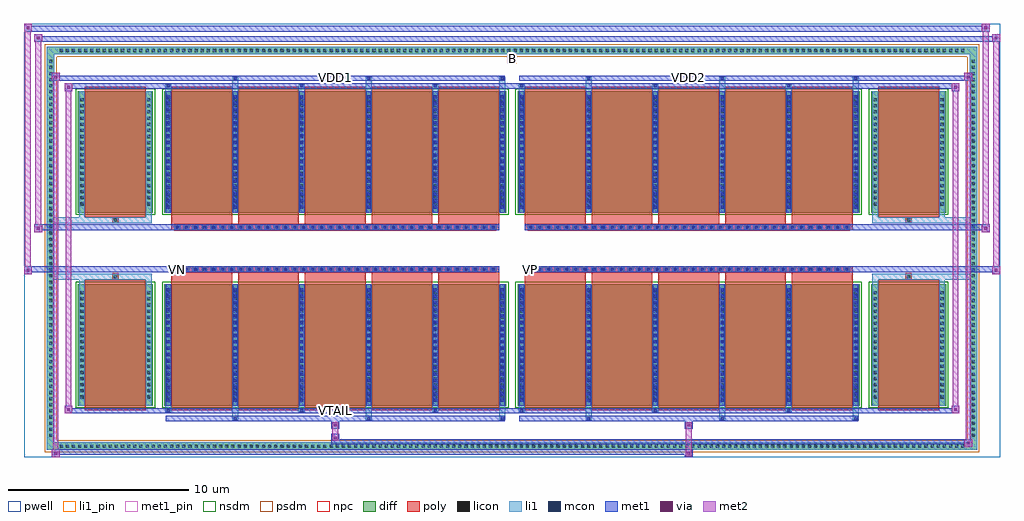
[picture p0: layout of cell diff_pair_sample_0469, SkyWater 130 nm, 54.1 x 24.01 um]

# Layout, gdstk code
import gdstk
lib = gdstk.Library(unit=1e-6, precision=5e-09)
def R(c, l, rs):  # rectangles x0, y0, x1, y1
    for r in rs: c.add(gdstk.rectangle(r[:2], r[2:], *l))
def A(c, l, x, y, w, h, nx, ny, dx, dy):  # array of equal rectangles
    R(c, l, [(x+i*dx, y+j*dy, x+i*dx+w, y+j*dy+h) for i in range(nx) for j in range(ny)])
def P(c, l, *ps):  # polygons
    for p in ps: c.add(gdstk.Polygon(p, *l))
pwell = (64, 44)
diff = (65, 20)
poly = (66, 20)
licon = (66, 44)
li1_pin = (67, 16)
li1 = (67, 20)
mcon = (67, 44)
met1_pin = (68, 16)
met1 = (68, 20)
via = (68, 44)
met2 = (69, 20)
nsdm = (93, 44)
psdm = (94, 20)
npc = (95, 20)

diff_pair_sample_0469 = lib.new_cell('diff_pair_sample_0469')
R(diff_pair_sample_0469, pwell, [(-27.05,-11.57,27.05,12.44), (-24.37,-9.76,-0.01,-0.8), (0.01,-9.76,24.37,-0.8), (-24.37,0.8,-0.01,9.76), (0.01,0.8,24.37,9.76)])
A(diff_pair_sample_0469, diff, -25.195, -11.17, 0.41, 0.41, 148, 2, 0.34, 21.93)
A(diff_pair_sample_0469, diff, -25.78, -10.575, 0.41, 0.41, 1, 62, 0, 0.34)
A(diff_pair_sample_0469, diff, 25.37, -10.575, 0.41, 0.41, 1, 62, 0, 0.34)
R(diff_pair_sample_0469, diff, [(-25.195,-11.17,25.195,-10.76), (-25.78,-10.575,-25.37,10.575), (25.37,-10.575,25.78,10.575), (-24.06,-8.715,-19.91,-1.985), (-19.27,-8.715,-0.32,-1.985), (0.32,-8.715,19.27,-1.985), (19.91,-8.715,24.06,-1.985), (-24.06,1.985,-19.91,8.715), (-19.27,1.985,-0.32,8.715), (0.32,1.985,19.27,8.715), (19.91,1.985,24.06,8.715), (-25.195,10.76,25.195,11.17)])
P(diff_pair_sample_0469, diff, [(25.78,11.17),(-25.78,11.17),(-25.78,-10.76),(-25.37,-10.76),(-25.37,10.76),(25.37,10.76),(25.37,-10.76),(-25.37,-10.76),(-25.78,-10.76),(-25.78,-11.17),(25.78,-11.17)])
A(diff_pair_sample_0469, poly, -18.88, -8.965, 3.37, 7.23, 5, 2, 3.7, 10.7)
A(diff_pair_sample_0469, poly, 0.71, -8.965, 3.37, 7.23, 5, 2, 3.7, 10.7)
A(diff_pair_sample_0469, poly, -18.88, -1.735, 3.37, 0.405, 5, 2, 3.7, 3.065)
A(diff_pair_sample_0469, poly, 0.71, -1.735, 3.37, 0.405, 5, 2, 3.7, 3.065)
A(diff_pair_sample_0469, poly, -18.71, -1.33, 0.33, 0.33, 36, 2, 0.5, 2.33)
A(diff_pair_sample_0469, poly, 0.88, -1.33, 0.33, 0.33, 36, 2, 0.5, 2.33)
R(diff_pair_sample_0469, poly, [(-23.67,-8.965,-20.3,-1.735), (20.3,-8.965,23.67,-1.735), (-22.15,-1.735,-21.82,-1.405), (-22.15,-1.735,-21.82,-1.405), (21.82,-1.735,22.15,-1.405), (21.82,-1.735,22.15,-1.405), (-18.88,-1.33,-0.71,-1), (0.71,-1.33,18.88,-1), (-18.88,1,-0.71,1.33), (0.71,1,18.88,1.33), (-22.15,1.405,-21.82,1.735), (-22.15,1.405,-21.82,1.735), (21.82,1.405,22.15,1.735), (21.82,1.405,22.15,1.735), (-23.67,1.735,-20.3,8.965), (20.3,1.735,23.67,8.965)])
A(diff_pair_sample_0469, licon, -25.075, -11.05, 0.17, 0.17, 148, 2, 0.34, 21.93)
A(diff_pair_sample_0469, licon, -25.66, -10.455, 0.17, 0.17, 1, 62, 0, 0.34)
A(diff_pair_sample_0469, licon, 25.49, -10.455, 0.17, 0.17, 1, 62, 0, 0.34)
A(diff_pair_sample_0469, licon, -23.92, -8.325, 0.17, 0.17, 1, 18, 0, 0.34)
A(diff_pair_sample_0469, licon, -20.22, -8.325, 0.17, 0.17, 1, 18, 0, 0.34)
A(diff_pair_sample_0469, licon, -19.13, -8.325, 0.17, 0.17, 6, 18, 3.7, 0.34)
A(diff_pair_sample_0469, licon, 0.46, -8.325, 0.17, 0.17, 6, 18, 3.7, 0.34)
A(diff_pair_sample_0469, licon, 20.05, -8.325, 0.17, 0.17, 1, 18, 0, 0.34)
A(diff_pair_sample_0469, licon, 23.75, -8.325, 0.17, 0.17, 1, 18, 0, 0.34)
A(diff_pair_sample_0469, licon, -18.63, -1.25, 0.17, 0.17, 36, 2, 0.5, 2.33)
A(diff_pair_sample_0469, licon, 0.96, -1.25, 0.17, 0.17, 36, 2, 0.5, 2.33)
A(diff_pair_sample_0469, licon, -23.92, 2.375, 0.17, 0.17, 1, 18, 0, 0.34)
A(diff_pair_sample_0469, licon, -20.22, 2.375, 0.17, 0.17, 1, 18, 0, 0.34)
A(diff_pair_sample_0469, licon, -19.13, 2.375, 0.17, 0.17, 6, 18, 3.7, 0.34)
A(diff_pair_sample_0469, licon, 0.46, 2.375, 0.17, 0.17, 6, 18, 3.7, 0.34)
A(diff_pair_sample_0469, licon, 20.05, 2.375, 0.17, 0.17, 1, 18, 0, 0.34)
A(diff_pair_sample_0469, licon, 23.75, 2.375, 0.17, 0.17, 1, 18, 0, 0.34)
R(diff_pair_sample_0469, licon, [(-22.07,-1.655,-21.9,-1.485), (21.9,-1.655,22.07,-1.485), (-22.07,1.485,-21.9,1.655), (21.9,1.485,22.07,1.655)])
R(diff_pair_sample_0469, li1_pin, [(-0.25,10.26,0.25,10.76)])
A(diff_pair_sample_0469, li1, -25.155, -11.13, 0.33, 0.33, 148, 2, 0.34, 21.93)
A(diff_pair_sample_0469, li1, -25.74, -10.535, 0.33, 0.33, 1, 62, 0, 0.34)
A(diff_pair_sample_0469, li1, 25.41, -10.535, 0.33, 0.33, 1, 62, 0, 0.34)
A(diff_pair_sample_0469, li1, -15.51, -9.52, 0.33, 0.805, 3, 2, 7.4, 18.235)
A(diff_pair_sample_0469, li1, -15.43, -9.52, 0.17, 0.17, 3, 2, 7.4, 18.87)
A(diff_pair_sample_0469, li1, 4.08, -9.52, 0.33, 0.805, 3, 2, 7.4, 18.235)
A(diff_pair_sample_0469, li1, 4.16, -9.52, 0.17, 0.17, 3, 2, 7.4, 18.87)
A(diff_pair_sample_0469, li1, -19.21, -9.09, 0.33, 0.375, 3, 2, 7.4, 17.805)
A(diff_pair_sample_0469, li1, -19.13, -9.09, 0.17, 0.17, 3, 2, 7.4, 18.01)
A(diff_pair_sample_0469, li1, 0.38, -9.09, 0.33, 0.375, 3, 2, 7.4, 17.805)
A(diff_pair_sample_0469, li1, 0.46, -9.09, 0.17, 0.17, 3, 2, 7.4, 18.01)
A(diff_pair_sample_0469, li1, -19.21, -8.715, 0.33, 6.73, 6, 2, 3.7, 10.7)
A(diff_pair_sample_0469, li1, 0.38, -8.715, 0.33, 6.73, 6, 2, 3.7, 10.7)
A(diff_pair_sample_0469, li1, -19.13, -8.495, 0.17, 0.17, 6, 18, 3.7, 0.36)
A(diff_pair_sample_0469, li1, -19.13, -8.495, 0.17, 6.29, 6, 2, 3.7, 10.7)
A(diff_pair_sample_0469, li1, 0.46, -8.495, 0.17, 0.17, 6, 18, 3.7, 0.36)
A(diff_pair_sample_0469, li1, 0.46, -8.495, 0.17, 6.29, 6, 2, 3.7, 10.7)
A(diff_pair_sample_0469, li1, -24, -8.405, 0.33, 0.33, 1, 18, 0, 0.34)
A(diff_pair_sample_0469, li1, -20.3, -8.405, 0.33, 0.33, 1, 18, 0, 0.34)
A(diff_pair_sample_0469, li1, -19.21, -8.405, 0.33, 0.33, 6, 18, 3.7, 0.34)
A(diff_pair_sample_0469, li1, 0.38, -8.405, 0.33, 0.33, 6, 18, 3.7, 0.34)
A(diff_pair_sample_0469, li1, 19.97, -8.405, 0.33, 0.33, 1, 18, 0, 0.34)
A(diff_pair_sample_0469, li1, 23.67, -8.405, 0.33, 0.33, 1, 18, 0, 0.34)
A(diff_pair_sample_0469, li1, -18.71, -1.33, 0.33, 0.33, 36, 2, 0.5, 2.33)
A(diff_pair_sample_0469, li1, 0.88, -1.33, 0.33, 0.33, 36, 2, 0.5, 2.33)
A(diff_pair_sample_0469, li1, -19.13, 2.205, 0.17, 0.17, 6, 18, 3.7, 0.36)
A(diff_pair_sample_0469, li1, 0.46, 2.205, 0.17, 0.17, 6, 18, 3.7, 0.36)
A(diff_pair_sample_0469, li1, -24, 2.295, 0.33, 0.33, 1, 18, 0, 0.34)
A(diff_pair_sample_0469, li1, -20.3, 2.295, 0.33, 0.33, 1, 18, 0, 0.34)
A(diff_pair_sample_0469, li1, -19.21, 2.295, 0.33, 0.33, 6, 18, 3.7, 0.34)
A(diff_pair_sample_0469, li1, 0.38, 2.295, 0.33, 0.33, 6, 18, 3.7, 0.34)
A(diff_pair_sample_0469, li1, 19.97, 2.295, 0.33, 0.33, 1, 18, 0, 0.34)
A(diff_pair_sample_0469, li1, 23.67, 2.295, 0.33, 0.33, 1, 18, 0, 0.34)
R(diff_pair_sample_0469, li1, [(-25.78,-11.17,-25.37,-10.76), (-25.78,-11.17,-25.37,-10.76), (-25.37,-11.17,25.37,-10.76), (25.37,-11.17,25.78,-10.76), (25.37,-11.17,25.78,-10.76), (-25.78,-10.76,-25.37,10.76), (25.37,-10.76,25.78,10.76), (-24,-8.715,-23.67,-1.985), (-20.3,-8.715,-19.97,-1.985), (19.97,-8.715,20.3,-1.985), (23.67,-8.715,24,-1.985), (-24,-1.985,-23.67,-1.405), (-20.3,-1.985,-19.97,-1.405), (19.97,-1.985,20.3,-1.405), (23.67,-1.985,24,-1.405), (-25.78,-1.735,-22.15,-1.405), (-24,-1.735,-22.15,-1.405), (-22.15,-1.735,-21.82,-1.405), (-21.82,-1.735,-19.97,-1.405), (19.97,-1.735,21.82,-1.405), (21.82,-1.735,22.15,-1.405), (21.82,-1.735,25.78,-1.405), (22.15,-1.735,24,-1.405), (-25.78,1.405,-22.15,1.735), (-24,1.405,-22.15,1.735), (-24,1.405,-23.67,1.985), (-22.15,1.405,-21.82,1.735), (-21.82,1.405,-19.97,1.735), (-20.3,1.405,-19.97,1.985), (19.97,1.405,21.82,1.735), (19.97,1.405,20.3,1.985), (21.82,1.405,22.15,1.735), (21.82,1.405,25.78,1.735), (22.15,1.405,24,1.735), (23.67,1.405,24,1.985), (-24,1.985,-23.67,8.715), (-20.3,1.985,-19.97,8.715), (19.97,1.985,20.3,8.715), (23.67,1.985,24,8.715), (-25.78,10.76,-25.37,11.17), (-25.78,10.76,-25.37,11.17), (-25.37,10.76,25.37,11.17), (25.37,10.76,25.78,11.17), (25.37,10.76,25.78,11.17)])
A(diff_pair_sample_0469, mcon, -15.43, -9.52, 0.17, 0.17, 3, 2, 7.4, 18.87)
A(diff_pair_sample_0469, mcon, 4.16, -9.52, 0.17, 0.17, 3, 2, 7.4, 18.87)
A(diff_pair_sample_0469, mcon, -19.13, -9.09, 0.17, 0.17, 3, 2, 7.4, 18.01)
A(diff_pair_sample_0469, mcon, 0.46, -9.09, 0.17, 0.17, 3, 2, 7.4, 18.01)
A(diff_pair_sample_0469, mcon, -19.13, -8.495, 0.17, 0.17, 6, 18, 3.7, 0.36)
A(diff_pair_sample_0469, mcon, 0.46, -8.495, 0.17, 0.17, 6, 18, 3.7, 0.36)
A(diff_pair_sample_0469, mcon, -18.63, -1.25, 0.17, 0.17, 36, 2, 0.5, 2.33)
A(diff_pair_sample_0469, mcon, 0.96, -1.25, 0.17, 0.17, 36, 2, 0.5, 2.33)
A(diff_pair_sample_0469, mcon, -19.13, 2.205, 0.17, 0.17, 6, 18, 3.7, 0.36)
A(diff_pair_sample_0469, mcon, 0.46, 2.205, 0.17, 0.17, 6, 18, 3.7, 0.36)
R(diff_pair_sample_0469, met1_pin, [(-9.93,-9.13,-9.66,-8.86), (-18.68,-1.29,-18.41,-1.02), (0.91,-1.29,1.18,-1.02), (-9.93,9.31,-9.66,9.58), (9.66,9.31,9.93,9.58)])
A(diff_pair_sample_0469, met1, -15.49, -9.58, 0.29, 0.29, 3, 2, 7.4, 18.87)
A(diff_pair_sample_0469, met1, 4.1, -9.58, 0.29, 0.29, 3, 2, 7.4, 18.87)
A(diff_pair_sample_0469, met1, -19.19, -9.15, 0.29, 0.29, 3, 2, 7.4, 18.01)
A(diff_pair_sample_0469, met1, 0.4, -9.15, 0.29, 0.29, 3, 2, 7.4, 18.01)
A(diff_pair_sample_0469, met1, -19.19, -8.715, 0.29, 6.73, 6, 2, 3.7, 10.7)
A(diff_pair_sample_0469, met1, 0.4, -8.715, 0.29, 6.73, 6, 2, 3.7, 10.7)
A(diff_pair_sample_0469, met1, -19.19, -8.555, 0.29, 0.29, 6, 18, 3.7, 0.36)
A(diff_pair_sample_0469, met1, 0.4, -8.555, 0.29, 0.29, 6, 18, 3.7, 0.36)
A(diff_pair_sample_0469, met1, -18.69, -1.31, 0.29, 0.29, 36, 2, 0.5, 2.33)
A(diff_pair_sample_0469, met1, 0.9, -1.31, 0.29, 0.29, 36, 2, 0.5, 2.33)
A(diff_pair_sample_0469, met1, -19.19, 2.145, 0.29, 0.29, 6, 18, 3.7, 0.36)
A(diff_pair_sample_0469, met1, 0.4, 2.145, 0.29, 0.29, 6, 18, 3.7, 0.36)
R(diff_pair_sample_0469, met1, [(-25.51,-11.57,-25.08,-11.14), (9.58,-11.57,10.01,-11.14), (-25.51,-11.43,10.01,-11.14), (25.08,-11,25.51,-10.57), (-10.01,-10.86,25.51,-10.57), (-10.01,-10.72,-9.58,-10.29), (-10.01,-10.01,-9.58,-9.58), (9.58,-10.01,10.01,-9.58), (-19.19,-9.58,-0.4,-9.29), (0.4,-9.58,19.19,-9.29), (-24.8,-9.15,-24.37,-8.72), (-24.8,-9.15,-19.19,-8.86), (-19.19,-9.15,-0.4,-8.86), (-0.4,-9.15,0.4,-8.86), (0.4,-9.15,19.19,-8.86), (19.19,-9.15,24.8,-8.86), (24.37,-9.15,24.8,-8.72), (-27.05,-1.43,-26.62,-1), (26.62,-1.43,27.05,-1), (-27.05,-1.33,-0.71,-1), (-18.88,-1.33,-0.71,-1), (0.71,-1.33,18.88,-1), (0.71,-1.33,27.05,-1), (-26.48,0.9,-26.05,1.33), (26.05,0.9,26.48,1.33), (-26.48,1,-18.88,1.33), (-18.88,1,-0.71,1.33), (0.71,1,18.88,1.33), (18.88,1,26.48,1.33), (-24.8,8.72,-24.37,9.15), (24.37,8.72,24.8,9.15), (-24.8,8.86,-19.19,9.15), (-19.19,8.86,-0.4,9.15), (-0.4,8.86,0.4,9.15), (0.4,8.86,19.19,9.15), (19.19,8.86,24.8,9.15), (-25.51,9.29,-25.08,9.72), (-25.51,9.29,-19.19,9.58), (-19.19,9.29,-0.4,9.58), (0.4,9.29,19.19,9.58), (19.19,9.29,25.51,9.58), (25.08,9.29,25.51,9.72), (-26.48,11.44,-26.05,11.87), (-26.48,11.44,-24.37,11.77), (-24.37,11.44,24.37,11.77), (24.37,11.44,27.05,11.77), (26.62,11.44,27.05,11.87), (-27.05,12.01,-26.62,12.44), (-27.05,12.01,-24.37,12.34), (-24.37,12.01,24.37,12.34), (24.37,12.01,26.48,12.34), (26.05,12.01,26.48,12.44)])
R(diff_pair_sample_0469, via, [(-25.37,-11.43,-25.22,-11.28), (9.72,-11.43,9.87,-11.28), (25.22,-10.86,25.37,-10.71), (-9.87,-10.58,-9.72,-10.43), (-9.87,-9.87,-9.72,-9.72), (9.72,-9.87,9.87,-9.72), (-24.66,-9.01,-24.51,-8.86), (24.51,-9.01,24.66,-8.86), (-26.91,-1.29,-26.76,-1.14), (26.76,-1.29,26.91,-1.14), (-26.34,1.04,-26.19,1.19), (26.19,1.04,26.34,1.19), (-24.66,8.86,-24.51,9.01), (24.51,8.86,24.66,9.01), (-25.37,9.43,-25.22,9.58), (25.22,9.43,25.37,9.58), (-26.34,11.58,-26.19,11.73), (26.76,11.58,26.91,11.73), (-26.91,12.15,-26.76,12.3), (26.19,12.15,26.34,12.3)])
R(diff_pair_sample_0469, met2, [(-25.51,-11.57,-25.08,-11.14), (-25.44,-11.57,-25.15,9.72), (-25.15,-11.57,-25.08,-11.14), (-25.46,-11.52,-25.13,-11.19), (9.63,-11.52,9.96,-11.19), (9.63,-11.19,9.96,-9.96), (25.08,-11,25.51,-10.57), (25.15,-11,25.44,9.72), (25.44,-11,25.51,-10.57), (25.13,-10.95,25.46,-10.62), (-9.96,-10.67,-9.63,-10.34), (-9.96,-10.34,-9.63,-9.96), (-9.96,-9.96,-9.63,-9.63), (9.63,-9.96,9.96,-9.63), (-24.8,-9.15,-24.37,-8.72), (-24.73,-9.15,-24.44,9.15), (-24.44,-9.15,-24.37,-8.72), (24.37,-9.15,24.8,-8.72), (24.44,-9.15,24.73,9.15), (24.73,-9.15,24.8,-8.72), (-24.75,-9.1,-24.42,-8.77), (24.42,-9.1,24.75,-8.77), (-27.05,-1.43,-26.62,-1), (-27,-1.43,-26.67,12.44), (-26.67,-1.43,-26.62,-1), (26.62,-1.43,27.05,-1), (26.67,-1.43,27,11.87), (27,-1.43,27.05,-1), (-27,-1.38,-26.67,-1.05), (26.67,-1.38,27,-1.05), (-26.48,0.9,-26.05,1.33), (-26.43,0.9,-26.1,11.87), (-26.1,0.9,-26.05,1.33), (26.05,0.9,26.48,1.33), (26.1,0.9,26.43,12.44), (26.43,0.9,26.48,1.33), (-26.43,0.95,-26.1,1.28), (26.1,0.95,26.43,1.28), (-24.8,8.72,-24.37,9.15), (-24.44,8.72,-24.37,9.15), (24.37,8.72,24.8,9.15), (24.73,8.72,24.8,9.15), (-24.75,8.77,-24.42,9.1), (24.42,8.77,24.75,9.1), (-25.51,9.29,-25.08,9.72), (-25.15,9.29,-25.08,9.72), (25.08,9.29,25.51,9.72), (25.44,9.29,25.51,9.72), (-25.46,9.34,-25.13,9.67), (25.13,9.34,25.46,9.67), (-26.48,11.44,-26.05,11.87), (-26.1,11.44,-26.05,11.87), (26.62,11.44,27.05,11.87), (27,11.44,27.05,11.87), (-26.43,11.49,-26.1,11.82), (26.67,11.49,27,11.82), (-27.05,12.01,-26.62,12.44), (-26.67,12.01,-26.62,12.44), (26.05,12.01,26.48,12.44), (26.43,12.01,26.48,12.44), (-27,12.06,-26.67,12.39), (26.1,12.06,26.43,12.39)])
R(diff_pair_sample_0469, nsdm, [(-24.19,-8.845,-19.78,-1.855), (-19.4,-8.845,-0.19,-1.855), (0.19,-8.845,19.4,-1.855), (19.78,-8.845,24.19,-1.855), (-24.19,1.855,-19.78,8.845), (-19.4,1.855,-0.19,8.845), (0.19,1.855,19.4,8.845), (19.78,1.855,24.19,8.845)])
P(diff_pair_sample_0469, psdm, [(25.91,11.3),(-25.91,11.3),(-25.91,-10.63),(-25.24,-10.63),(-25.24,10.63),(25.24,10.63),(25.24,-10.63),(-25.24,-10.63),(-25.91,-10.63),(-25.91,-11.3),(25.91,-11.3)])
A(diff_pair_sample_0469, npc, -18.73, -1.35, 0.37, 0.37, 36, 2, 0.5, 2.33)
A(diff_pair_sample_0469, npc, 0.86, -1.35, 0.37, 0.37, 36, 2, 0.5, 2.33)
R(diff_pair_sample_0469, npc, [(-22.17,-1.755,-21.8,-1.385), (21.8,-1.755,22.17,-1.385), (-18.73,-1.35,-17.86,-0.98), (-18.73,-1.35,-17.86,-0.98), (-18.23,-1.35,-17.36,-0.98), (-18.23,-1.35,-17.36,-0.98), (-17.73,-1.35,-16.86,-0.98), (-17.73,-1.35,-16.86,-0.98), (-17.23,-1.35,-16.36,-0.98), (-17.23,-1.35,-16.36,-0.98), (-16.73,-1.35,-15.86,-0.98), (-16.73,-1.35,-15.86,-0.98), (-16.23,-1.35,-15.36,-0.98), (-16.23,-1.35,-15.36,-0.98), (-15.73,-1.35,-14.86,-0.98), (-15.73,-1.35,-14.86,-0.98), (-15.23,-1.35,-14.36,-0.98), (-15.23,-1.35,-14.36,-0.98), (-14.73,-1.35,-13.86,-0.98), (-14.73,-1.35,-13.86,-0.98), (-14.23,-1.35,-13.36,-0.98), (-14.23,-1.35,-13.36,-0.98), (-13.73,-1.35,-12.86,-0.98), (-13.73,-1.35,-12.86,-0.98), (-13.23,-1.35,-12.36,-0.98), (-13.23,-1.35,-12.36,-0.98), (-12.73,-1.35,-11.86,-0.98), (-12.73,-1.35,-11.86,-0.98), (-12.23,-1.35,-11.36,-0.98), (-12.23,-1.35,-11.36,-0.98), (-11.73,-1.35,-10.86,-0.98), (-11.73,-1.35,-10.86,-0.98), (-11.23,-1.35,-10.36,-0.98), (-11.23,-1.35,-10.36,-0.98), (-10.73,-1.35,-9.86,-0.98), (-10.73,-1.35,-9.86,-0.98), (-10.23,-1.35,-9.36,-0.98), (-10.23,-1.35,-9.36,-0.98), (-9.73,-1.35,-8.86,-0.98), (-9.73,-1.35,-8.86,-0.98), (-9.23,-1.35,-8.36,-0.98), (-9.23,-1.35,-8.36,-0.98), (-8.73,-1.35,-7.86,-0.98), (-8.73,-1.35,-7.86,-0.98), (-8.23,-1.35,-7.36,-0.98), (-8.23,-1.35,-7.36,-0.98), (-7.73,-1.35,-6.86,-0.98), (-7.73,-1.35,-6.86,-0.98), (-7.23,-1.35,-6.36,-0.98), (-7.23,-1.35,-6.36,-0.98), (-6.73,-1.35,-5.86,-0.98), (-6.73,-1.35,-5.86,-0.98), (-6.23,-1.35,-5.36,-0.98), (-6.23,-1.35,-5.36,-0.98), (-5.73,-1.35,-4.86,-0.98), (-5.73,-1.35,-4.86,-0.98), (-5.23,-1.35,-4.36,-0.98), (-5.23,-1.35,-4.36,-0.98), (-4.73,-1.35,-3.86,-0.98), (-4.73,-1.35,-3.86,-0.98), (-4.23,-1.35,-3.36,-0.98), (-4.23,-1.35,-3.36,-0.98), (-3.73,-1.35,-2.86,-0.98), (-3.73,-1.35,-2.86,-0.98), (-3.23,-1.35,-2.36,-0.98), (-3.23,-1.35,-2.36,-0.98), (-2.73,-1.35,-1.86,-0.98), (-2.73,-1.35,-1.86,-0.98), (-2.23,-1.35,-1.36,-0.98), (-2.23,-1.35,-1.36,-0.98), (-1.73,-1.35,-0.86,-0.98), (-1.73,-1.35,-0.86,-0.98), (0.86,-1.35,1.73,-0.98), (0.86,-1.35,1.73,-0.98), (1.36,-1.35,2.23,-0.98), (1.36,-1.35,2.23,-0.98), (1.86,-1.35,2.73,-0.98), (1.86,-1.35,2.73,-0.98), (2.36,-1.35,3.23,-0.98), (2.36,-1.35,3.23,-0.98), (2.86,-1.35,3.73,-0.98), (2.86,-1.35,3.73,-0.98), (3.36,-1.35,4.23,-0.98), (3.36,-1.35,4.23,-0.98), (3.86,-1.35,4.73,-0.98), (3.86,-1.35,4.73,-0.98), (4.36,-1.35,5.23,-0.98), (4.36,-1.35,5.23,-0.98), (4.86,-1.35,5.73,-0.98), (4.86,-1.35,5.73,-0.98), (5.36,-1.35,6.23,-0.98), (5.36,-1.35,6.23,-0.98), (5.86,-1.35,6.73,-0.98), (5.86,-1.35,6.73,-0.98), (6.36,-1.35,7.23,-0.98), (6.36,-1.35,7.23,-0.98), (6.86,-1.35,7.73,-0.98), (6.86,-1.35,7.73,-0.98), (7.36,-1.35,8.23,-0.98), (7.36,-1.35,8.23,-0.98), (7.86,-1.35,8.73,-0.98), (7.86,-1.35,8.73,-0.98), (8.36,-1.35,9.23,-0.98), (8.36,-1.35,9.23,-0.98), (8.86,-1.35,9.73,-0.98), (8.86,-1.35,9.73,-0.98), (9.36,-1.35,10.23,-0.98), (9.36,-1.35,10.23,-0.98), (9.86,-1.35,10.73,-0.98), (9.86,-1.35,10.73,-0.98), (10.36,-1.35,11.23,-0.98), (10.36,-1.35,11.23,-0.98), (10.86,-1.35,11.73,-0.98), (10.86,-1.35,11.73,-0.98), (11.36,-1.35,12.23,-0.98), (11.36,-1.35,12.23,-0.98), (11.86,-1.35,12.73,-0.98), (11.86,-1.35,12.73,-0.98), (12.36,-1.35,13.23,-0.98), (12.36,-1.35,13.23,-0.98), (12.86,-1.35,13.73,-0.98), (12.86,-1.35,13.73,-0.98), (13.36,-1.35,14.23,-0.98), (13.36,-1.35,14.23,-0.98), (13.86,-1.35,14.73,-0.98), (13.86,-1.35,14.73,-0.98), (14.36,-1.35,15.23,-0.98), (14.36,-1.35,15.23,-0.98), (14.86,-1.35,15.73,-0.98), (14.86,-1.35,15.73,-0.98), (15.36,-1.35,16.23,-0.98), (15.36,-1.35,16.23,-0.98), (15.86,-1.35,16.73,-0.98), (15.86,-1.35,16.73,-0.98), (16.36,-1.35,17.23,-0.98), (16.36,-1.35,17.23,-0.98), (16.86,-1.35,17.73,-0.98), (16.86,-1.35,17.73,-0.98), (17.36,-1.35,18.23,-0.98), (17.36,-1.35,18.23,-0.98), (17.86,-1.35,18.73,-0.98), (17.86,-1.35,18.73,-0.98), (-18.73,0.98,-17.86,1.35), (-18.73,0.98,-17.86,1.35), (-18.23,0.98,-17.36,1.35), (-18.23,0.98,-17.36,1.35), (-17.73,0.98,-16.86,1.35), (-17.73,0.98,-16.86,1.35), (-17.23,0.98,-16.36,1.35), (-17.23,0.98,-16.36,1.35), (-16.73,0.98,-15.86,1.35), (-16.73,0.98,-15.86,1.35), (-16.23,0.98,-15.36,1.35), (-16.23,0.98,-15.36,1.35), (-15.73,0.98,-14.86,1.35), (-15.73,0.98,-14.86,1.35), (-15.23,0.98,-14.36,1.35), (-15.23,0.98,-14.36,1.35), (-14.73,0.98,-13.86,1.35), (-14.73,0.98,-13.86,1.35), (-14.23,0.98,-13.36,1.35), (-14.23,0.98,-13.36,1.35), (-13.73,0.98,-12.86,1.35), (-13.73,0.98,-12.86,1.35), (-13.23,0.98,-12.36,1.35), (-13.23,0.98,-12.36,1.35), (-12.73,0.98,-11.86,1.35), (-12.73,0.98,-11.86,1.35), (-12.23,0.98,-11.36,1.35), (-12.23,0.98,-11.36,1.35), (-11.73,0.98,-10.86,1.35), (-11.73,0.98,-10.86,1.35), (-11.23,0.98,-10.36,1.35), (-11.23,0.98,-10.36,1.35), (-10.73,0.98,-9.86,1.35), (-10.73,0.98,-9.86,1.35), (-10.23,0.98,-9.36,1.35), (-10.23,0.98,-9.36,1.35), (-9.73,0.98,-8.86,1.35), (-9.73,0.98,-8.86,1.35), (-9.23,0.98,-8.36,1.35), (-9.23,0.98,-8.36,1.35), (-8.73,0.98,-7.86,1.35), (-8.73,0.98,-7.86,1.35), (-8.23,0.98,-7.36,1.35), (-8.23,0.98,-7.36,1.35), (-7.73,0.98,-6.86,1.35), (-7.73,0.98,-6.86,1.35), (-7.23,0.98,-6.36,1.35), (-7.23,0.98,-6.36,1.35), (-6.73,0.98,-5.86,1.35), (-6.73,0.98,-5.86,1.35), (-6.23,0.98,-5.36,1.35), (-6.23,0.98,-5.36,1.35), (-5.73,0.98,-4.86,1.35), (-5.73,0.98,-4.86,1.35), (-5.23,0.98,-4.36,1.35), (-5.23,0.98,-4.36,1.35), (-4.73,0.98,-3.86,1.35), (-4.73,0.98,-3.86,1.35), (-4.23,0.98,-3.36,1.35), (-4.23,0.98,-3.36,1.35), (-3.73,0.98,-2.86,1.35), (-3.73,0.98,-2.86,1.35), (-3.23,0.98,-2.36,1.35), (-3.23,0.98,-2.36,1.35), (-2.73,0.98,-1.86,1.35), (-2.73,0.98,-1.86,1.35), (-2.23,0.98,-1.36,1.35), (-2.23,0.98,-1.36,1.35), (-1.73,0.98,-0.86,1.35), (-1.73,0.98,-0.86,1.35), (0.86,0.98,1.73,1.35), (0.86,0.98,1.73,1.35), (1.36,0.98,2.23,1.35), (1.36,0.98,2.23,1.35), (1.86,0.98,2.73,1.35), (1.86,0.98,2.73,1.35), (2.36,0.98,3.23,1.35), (2.36,0.98,3.23,1.35), (2.86,0.98,3.73,1.35), (2.86,0.98,3.73,1.35), (3.36,0.98,4.23,1.35), (3.36,0.98,4.23,1.35), (3.86,0.98,4.73,1.35), (3.86,0.98,4.73,1.35), (4.36,0.98,5.23,1.35), (4.36,0.98,5.23,1.35), (4.86,0.98,5.73,1.35), (4.86,0.98,5.73,1.35), (5.36,0.98,6.23,1.35), (5.36,0.98,6.23,1.35), (5.86,0.98,6.73,1.35), (5.86,0.98,6.73,1.35), (6.36,0.98,7.23,1.35), (6.36,0.98,7.23,1.35), (6.86,0.98,7.73,1.35), (6.86,0.98,7.73,1.35), (7.36,0.98,8.23,1.35), (7.36,0.98,8.23,1.35), (7.86,0.98,8.73,1.35), (7.86,0.98,8.73,1.35), (8.36,0.98,9.23,1.35), (8.36,0.98,9.23,1.35), (8.86,0.98,9.73,1.35), (8.86,0.98,9.73,1.35), (9.36,0.98,10.23,1.35), (9.36,0.98,10.23,1.35), (9.86,0.98,10.73,1.35), (9.86,0.98,10.73,1.35), (10.36,0.98,11.23,1.35), (10.36,0.98,11.23,1.35), (10.86,0.98,11.73,1.35), (10.86,0.98,11.73,1.35), (11.36,0.98,12.23,1.35), (11.36,0.98,12.23,1.35), (11.86,0.98,12.73,1.35), (11.86,0.98,12.73,1.35), (12.36,0.98,13.23,1.35), (12.36,0.98,13.23,1.35), (12.86,0.98,13.73,1.35), (12.86,0.98,13.73,1.35), (13.36,0.98,14.23,1.35), (13.36,0.98,14.23,1.35), (13.86,0.98,14.73,1.35), (13.86,0.98,14.73,1.35), (14.36,0.98,15.23,1.35), (14.36,0.98,15.23,1.35), (14.86,0.98,15.73,1.35), (14.86,0.98,15.73,1.35), (15.36,0.98,16.23,1.35), (15.36,0.98,16.23,1.35), (15.86,0.98,16.73,1.35), (15.86,0.98,16.73,1.35), (16.36,0.98,17.23,1.35), (16.36,0.98,17.23,1.35), (16.86,0.98,17.73,1.35), (16.86,0.98,17.73,1.35), (17.36,0.98,18.23,1.35), (17.36,0.98,18.23,1.35), (17.86,0.98,18.73,1.35), (17.86,0.98,18.73,1.35), (-22.17,1.385,-21.8,1.755), (21.8,1.385,22.17,1.755)])
diff_pair_sample_0469.add(gdstk.Label('VTAIL', (-9.795,-8.995), layer=68, texttype=5))
diff_pair_sample_0469.add(gdstk.Label('VN', (-18.545,-1.155), layer=68, texttype=5))
diff_pair_sample_0469.add(gdstk.Label('VP', (1.045,-1.155), layer=68, texttype=5))
diff_pair_sample_0469.add(gdstk.Label('B', (0,10.51), layer=67, texttype=5))
diff_pair_sample_0469.add(gdstk.Label('VDD2', (9.795,9.445), layer=68, texttype=5))
diff_pair_sample_0469.add(gdstk.Label('VDD1', (-9.795,9.445), layer=68, texttype=5))

lib.write_gds('diff_pair_sample_0469.gds')
